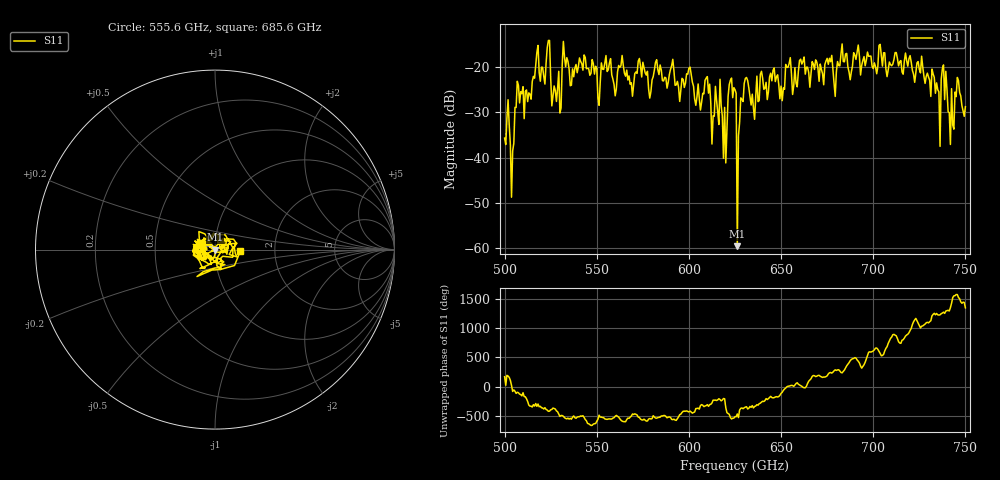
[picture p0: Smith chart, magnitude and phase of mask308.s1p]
!Created with skrf (http://scikit-rf.org).
# GHz S MA R 50.0
!freq magS11 angS11
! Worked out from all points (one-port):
!   401 points, 500 GHz to 750 GHz, reference 50 ohm
!   lowest |S11| = -59.5 dB at 626.2 GHz (marker M1), VSWR 1.00, Z = 50 - j0.101 ohm
!   |S11| at or under -10 dB: start of sweep to end of sweep
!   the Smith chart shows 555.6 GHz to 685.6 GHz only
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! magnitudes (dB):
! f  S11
! 500 GHz  -35.7
! 503.8 GHz  -48.7
! 506.9 GHz  -23.1
! 513.8 GHz  -26.0
! 516.9 GHz  -19.6
! 523.8 GHz  -14.1
! 526.9 GHz  -24.1
! 531.2 GHz  -19.5
! 533.1 GHz  -19.9
! 550.6 GHz  -26.8
! 562.5 GHz  -20.1
! 593.8 GHz  -23.1
! 610 GHz  -22.1
! 619.4 GHz  -28.9
! 623.1 GHz  -22.4
! 624.4 GHz  -24.5
! 625 GHz  -25.0
! 626.2 GHz  -59.5
! 631.2 GHz  -22.3
! 635 GHz  -29.0
! 656.2 GHz  -26.0
! 687.5 GHz  -22.8
! 718.8 GHz  -19.8
! 735 GHz  -25.0
! 738.1 GHz  -19.5
! 742.5 GHz  -24.8
! 745.6 GHz  -22.3
! 750 GHz  -28.7
